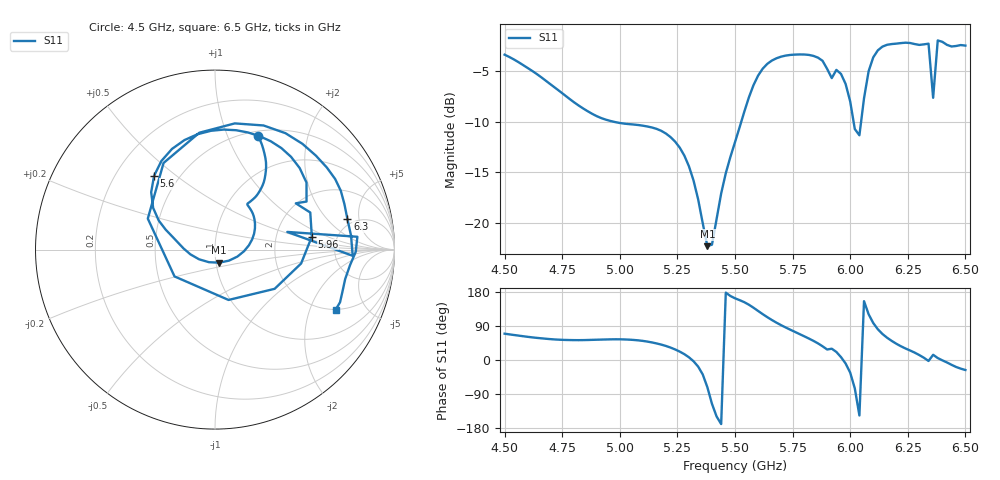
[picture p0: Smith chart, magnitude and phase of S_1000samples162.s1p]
! TOUCHSTONE file generated by CST MICROWAVE STUDIO
! Date and time: Thu Oct 27 05:18:08 2022
! Project name: L.cst
! Parameters = {Di=1.27; Epsilon_r=1.56; InnerDiameter=1.27; Length=2; Lf=10; Lg=60; OuterConductorThickness=0.2921; OuterDiameter=3.6; Wf=3; Wp=41.2; de=1.5; df=6.8; g=0.8; gx=1.58635; gy=3.03256; h=2.34; hf=1.524; px=13.6482; py=12.1271; w=9.7; wx=12.0618; wy=9.09459}
! Header version: 2018
! Port assignment regex: !\s*Touchstone port\s*([0-9]+)\s*=\s*(CST MWS port|CST DS port)\s*([0-9]+|Zmin|Zmax)\s*\(\"(.*)\"\)(\s*mode\s*([0-9]+))?.*
! Touchstone port assignment:
! Touchstone port 1 = CST MWS port 1 ("")
# GHz S DB R 50
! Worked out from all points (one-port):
!   101 points, 4.5 GHz to 6.5 GHz, reference 50 ohm
!   lowest |S11| = -22.3 dB at 5.38 GHz (marker M1), VSWR 1.17, Z = 51.9 - j7.59 ohm
!   |S11| at or under -10 dB: 4.971 GHz to 5.527 GHz (556.5 MHz wide, 10.6 % of centre); 6.015 GHz to 6.047 GHz (32.81 MHz wide, 0.544 % of centre)
!   S11 on the Smith chart (normalised r, x): 4.5 GHz: 0.55, +1.29; 5.6 GHz: 0.36, +0.42; 5.96 GHz: 3.24, +0.67; 6.3 GHz: 4.36, +3.48; 6.5 GHz: 1.99, -3.05
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4.5  -3.38 69.5
4.76  -7.37 53.0
5  -10.14 54.6
5.26  -12.57 22.2
5.32  -15.82 -3.3
5.38  -22.32 -71.7
5.4  -22.17 -115.6
5.5  -12.04 162.8
5.6  -5.46 129.6
5.68  -3.74 98.5
5.76  -3.38 74.2
5.88  -3.99 36.2
5.92  -5.70 29.8
5.96  -5.28 7.6
6  -8.01 -33.3
6.02  -10.74 -75.0
6.04  -11.35 -146.4
6.06  -7.70 155.2
6.08  -5.01 120.7
6.1  -3.65 97.6
6.12  -2.95 81.1
6.18  -2.33 50.5
6.26  -2.23 25.1
6.3  -2.42 13.0
6.34  -2.29 -2.6
6.36  -7.65 13.7
6.38  -1.98 5.1
6.5  -2.49 -26.5
